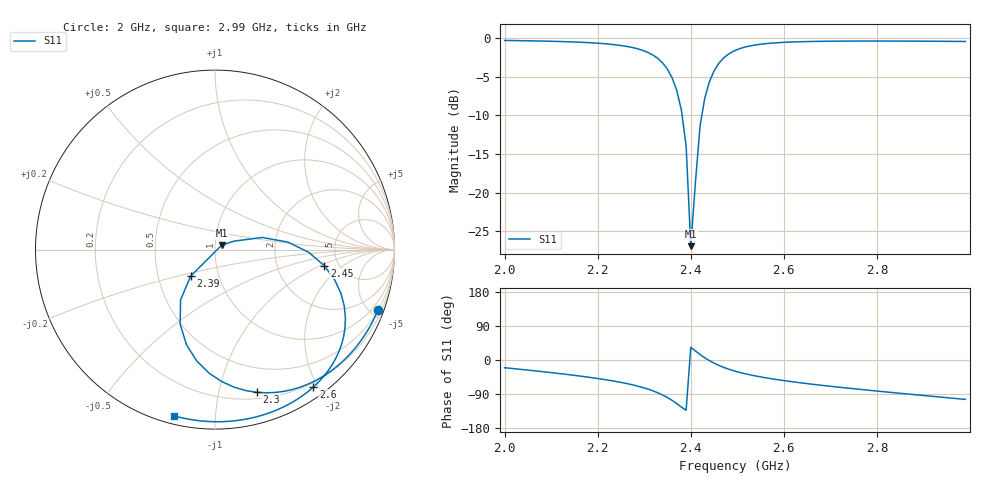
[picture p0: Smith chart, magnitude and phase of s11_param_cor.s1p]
! Fichier Touchstone S11
# GHz S DB R 50
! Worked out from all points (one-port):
!   100 points, 2 GHz to 2.99 GHz, reference 50 ohm
!   lowest |S11| = -27.0 dB at 2.4 GHz (marker M1), VSWR 1.09, Z = 53.8 + j2.67 ohm
!   |S11| at or under -10 dB: 2.381 GHz to 2.424 GHz (42.4 MHz wide, 1.76 % of centre)
!   S11 on the Smith chart (normalised r, x): 2 GHz: 0.51, -5.50; 2.3 GHz: 0.26, -1.30; 2.39 GHz: 0.73, -0.23; 2.45 GHz: 3.86, -1.11; 2.6 GHz: 0.14, -1.94; 2.99 GHz: 0.04, -0.78
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2  -0.28 -20.4
2.07  -0.35 -29.3
2.13  -0.44 -37.6
2.2  -0.63 -48.8
2.25  -0.93 -59.1
2.28  -1.27 -67.1
2.3  -1.64 -73.7
2.32  -2.22 -82.0
2.34  -3.23 -92.7
2.36  -5.14 -106.7
2.37  -6.79 -115.1
2.38  -9.37 -124.4
2.39  -13.96 -132.6
2.4  -26.96 33.5
2.41  -18.67 23.9
2.42  -11.34 14.5
2.43  -7.78 5.9
2.44  -5.63 -1.7
2.45  -4.22 -8.3
2.47  -2.58 -19.2
2.5  -1.46 -31.1
2.54  -0.85 -42.3
2.6  -0.52 -54.3
2.62  -0.47 -57.7
2.68  -0.39 -66.6
2.75  -0.36 -75.8
2.87  -0.36 -90.2
2.99  -0.41 -104.0
